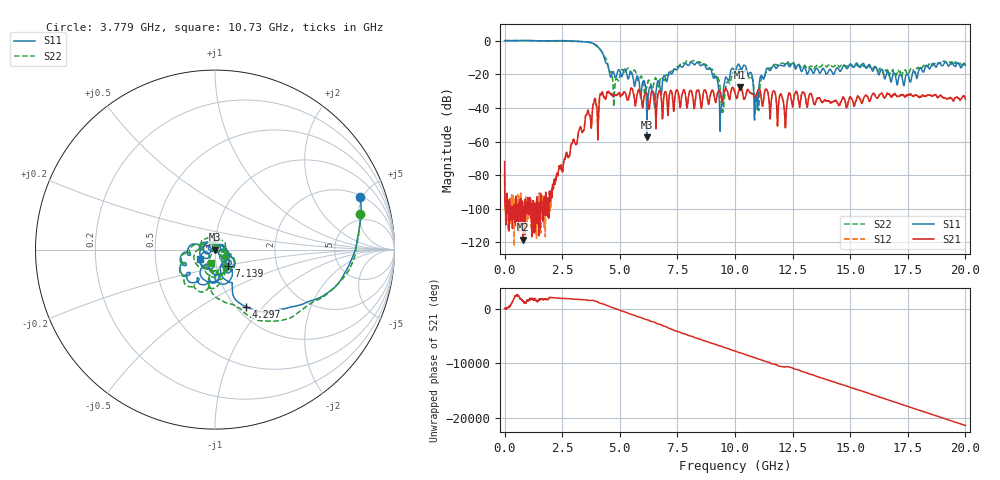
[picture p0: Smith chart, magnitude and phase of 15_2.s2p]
#  HZ  S  RI  R  50.00
! Rohde & Schwarz Vector Network Analyzer
! Rohde-Schwarz,ZNB20-2Port,1311601062102128,3.60
! Created: UTC 4/29/2024, 2:57:45 PM
! freq[Hz]  re:S11  im:S11  re:S21  im:S21  re:S12  im:S12  re:S22  im:S22
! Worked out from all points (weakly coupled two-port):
!   2007 points, 100 kHz to 20 GHz, reference 50 ohm
!   highest |S21| = -27.63 dB at 10.23 GHz (marker M1); lowest = -118.3 dB at 807.7 MHz (marker M2)
!   lowest |S11| = -57.6 dB at 6.182 GHz (marker M3), VSWR 1.00, Z = 50 - j0.129 ohm
!   |S11| at or under -10 dB: 4.326 GHz to end of sweep
!   |S22| runs from -43.4 to 0.1 dB; largest |S21 - S12| = 0.0022
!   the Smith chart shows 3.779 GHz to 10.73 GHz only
!   S11 on the Smith chart (normalised r, x): 3.779 GHz: 2.08, +4.77; 4.297 GHz: 1.11, -0.81; 7.139 GHz: 1.14, -0.21; 10.73 GHz: 0.84, -0.09
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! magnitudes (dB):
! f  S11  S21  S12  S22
! 100 kHz  0.0  -71.9  -78.6  0.1
! 807.7 MHz  0.1  -118.3  -97.0  0.0
! 2.233 GHz  0.0  -82.8  -81.8  -0.3
! 3.34 GHz  -0.6  -53.9  -53.6  -0.6
! 3.779 GHz  -1.3  -49.7  -50.0  -1.6
! 4.297 GHz  -8.8  -33.6  -33.7  -9.0
! 4.776 GHz  -20.7  -32.4  -32.4  -28.7
! 5.354 GHz  -22.8  -35.3  -35.2  -16.4
! 6.182 GHz  -57.6  -32.1  -32.1  -27.3
! 6.67 GHz  -23.8  -31.2  -31.3  -27.2
! 7.139 GHz  -18.7  -34.0  -34.0  -20.4
! 8.644 GHz  -13.9  -30.2  -30.2  -14.3
! 9.183 GHz  -21.4  -35.6  -35.6  -22.5
! 9.392 GHz  -40.2  -32.8  -32.8  -34.2
! 10 GHz  -18.7  -31.2  -31.2  -19.4
! 10.23 GHz  -15.9  -27.6  -27.6  -16.8
! 10.73 GHz  -20.1  -31.4  -31.4  -22.3
! 10.92 GHz  -33.5  -32.4  -32.4  -34.2
! 11.42 GHz  -16.4  -30.2  -30.2  -16.8
! 13.34 GHz  -18.0  -32.8  -32.8  -15.3
! 16.67 GHz  -19.0  -31.8  -31.8  -20.5
! 20 GHz  -14.6  -34.9  -34.8  -14.4
